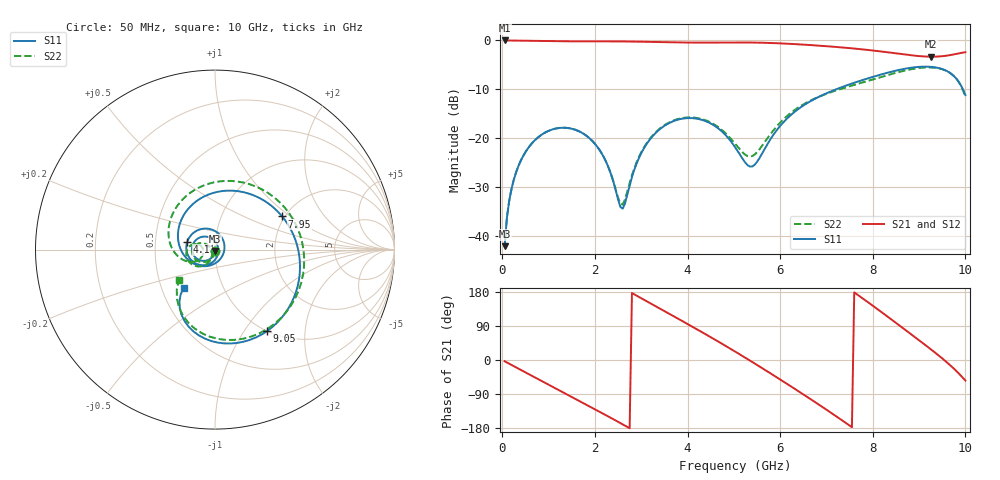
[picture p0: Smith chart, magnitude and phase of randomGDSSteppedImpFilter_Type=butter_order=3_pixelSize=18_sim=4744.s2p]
! freq	dB(S11)	phase(S11)	dB(S12)	phase(S12)
!  dB(S21)	phase(S21)	dB(S22)	phase(S22)
!S-par simulation data
#  GHz  S  DB  R 50
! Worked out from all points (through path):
!   200 points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, 50 MHz to 10 GHz, reference 50 ohm
!   highest |S21| = -0.01 dB at 50 MHz (marker M1); lowest = -3.3 dB at 9.25 GHz (marker M2)
!   group delay of S21, straight-line fit = 209 ps
!   lowest |S11| = -42.0 dB at 50 MHz (marker M3), VSWR 1.02, Z = 50 - j0.79 ohm
!   |S11| at or under -10 dB: start of sweep to 7.206 GHz; 9.948 GHz to end of sweep
!   |S22| runs from -42.0 to -5.5 dB; largest |S21 - S12| = 0
!   S11 on the Smith chart (normalised r, x): 50 MHz: 1.00, -0.02; 4.1 GHz: 0.73, +0.07; 7.95 GHz: 1.94, +0.87; 9.05 GHz: 1.00, -1.28; 10 GHz: 0.65, -0.30
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0.05  -42.05 -90.5  -0.01 -3.3  -0.01 -3.3  -42.04 -89.9
0.2  -30.31 -103.3  -0.03 -13.1  -0.03 -13.1  -30.29 -101.5
0.55  -22.11 -128.6  -0.07 -35.9  -0.07 -35.9  -22.10 -123.6
1.15  -18.02 -170.9  -0.16 -74.7  -0.16 -74.7  -18.01 -159.4
1.75  -19.05 145.0  -0.19 -113.5  -0.19 -113.5  -19.05 167.1
2.2  -24.00 105.1  -0.19 -143.1  -0.19 -143.1  -24.00 148.8
2.6  -34.39 -2.9  -0.21 -169.9  -0.21 -169.9  -33.55 -156.3
2.95  -24.05 -94.8  -0.26 166.5  -0.26 166.5  -23.82 -114.5
3.4  -18.16 -137.5  -0.35 135.9  -0.35 135.9  -18.02 -131.7
4.1  -15.89 164.2  -0.44 88.1  -0.44 88.1  -15.74 -167.5
5.05  -22.14 62.0  -0.41 20.7  -0.41 20.7  -21.36 164.2
5.4  -25.75 -24.4  -0.43 -5.4  -0.43 -5.4  -23.62 -167.9
5.75  -20.81 -105.6  -0.51 -32.1  -0.51 -32.1  -19.68 -148.0
6.25  -15.09 -170.1  -0.72 -70.9  -0.72 -70.9  -14.66 -161.7
6.7  -12.19 141.8  -0.98 -106.7  -0.98 -106.7  -12.09 174.0
7.35  -9.48 78.1  -1.45 -160.3  -1.45 -160.3  -9.80 129.4
7.95  -7.59 26.3  -2.00 147.8  -2.00 147.8  -8.12 76.9
8.35  -6.52 -4.9  -2.47 111.8  -2.47 111.8  -7.01 36.6
9.05  -5.37 -57.3  -3.24 47.4  -3.24 47.4  -5.59 -36.4
9.25  -5.39 -72.6  -3.32 28.6  -3.32 28.6  -5.52 -56.9
9.7  -6.87 -108.9  -2.95 -17.0  -2.95 -17.0  -6.86 -104.5
10  -11.16 -129.3  -2.41 -54.2  -2.41 -54.2  -11.58 -139.7
